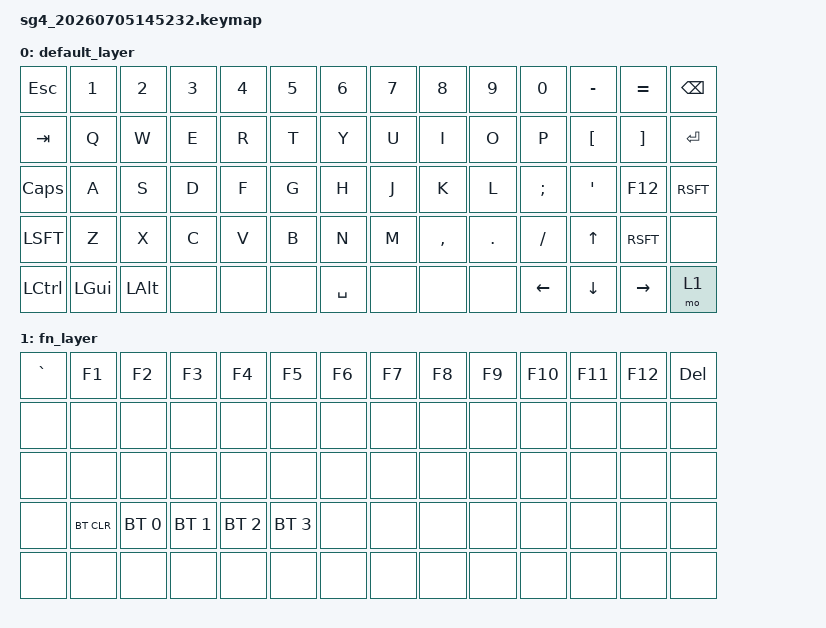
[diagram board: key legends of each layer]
#include <behaviors.dtsi>
#include <dt-bindings/zmk/keys.h>
#include <dt-bindings/zmk/bt.h>

/ {
    keymap {
        compatible = "zmk,keymap";

        default_layer {
            bindings = <
/* Row 1 */ &kp ESC   &kp N1    &kp N2    &kp N3    &kp N4    &kp N5    &kp N6    &kp N7    &kp N8    &kp N9    &kp N0    &kp MINUS &kp EQUAL &kp BSPC
/* Row 2 */ &kp TAB   &kp Q     &kp W     &kp E     &kp R     &kp T     &kp Y     &kp U     &kp I     &kp O     &kp P     &kp LBKT  &kp RBKT  &kp RET
/* Row 3 */ &kp CLCK  &kp A     &kp S     &kp D     &kp F     &kp G     &kp H     &kp J     &kp K     &kp L     &kp SEMI  &kp SQT   &kp F12   &kp RSFT
/* Row 4 */ &kp LSFT  &kp Z     &kp X     &kp C     &kp V     &kp B     &kp N     &kp M     &kp COMMA &kp DOT   &kp FSLH  &kp UP    &kp RSFT  &none
/* Row 5 */ &kp LCTL  &kp LGUI  &kp LALT  &none     &none     &none     &kp SPACE &none     &none     &none     &kp LEFT  &kp DOWN  &kp RIGHT &mo 1
            >;
        };

        fn_layer {
            bindings = <
/* Row 1 */ &kp GRAVE &kp F1    &kp F2    &kp F3    &kp F4    &kp F5    &kp F6    &kp F7    &kp F8    &kp F9    &kp F10   &kp F11   &kp F12   &kp DEL
/* Row 2 */ &none     &none     &none     &none     &none     &none     &none     &none     &none     &none     &none     &none     &none     &none
/* Row 3 */ &none     &none     &none     &none     &none     &none     &none     &none     &none     &none     &none     &none     &none     &none
/* Row 4 */ &none     &bt BT_CLR &bt BT_SEL 0 &bt BT_SEL 1 &bt BT_SEL 2 &bt BT_SEL 3 &none &none &none    &none     &none     &none     &none     &none
/* Row 5 */ &none     &none     &none     &none     &none     &none     &none     &none     &none     &none     &none     &none     &none     &none
            >;
        };
    };
};
